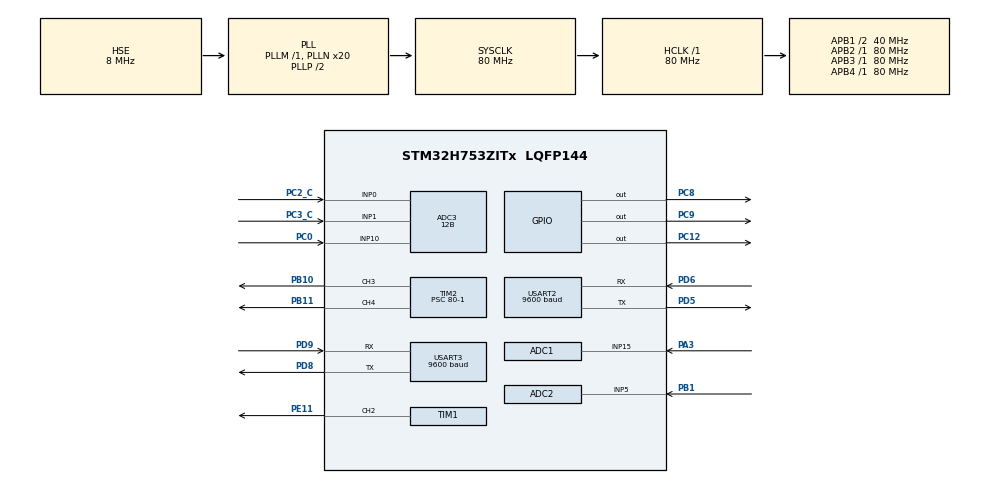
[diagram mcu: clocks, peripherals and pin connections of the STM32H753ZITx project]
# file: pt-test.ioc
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ADC1.Channel-0\#ChannelRegularConversion=ADC_CHANNEL_15
ADC1.ClockPrescaler=ADC_CLOCK_ASYNC_DIV2
ADC1.ContinuousConvMode=DISABLE
ADC1.DiscontinuousConvMode=ENABLE
ADC1.NbrOfConversion=1
ADC1.NbrOfConversionFlag=1
ADC1.OffsetNumber-0\#ChannelRegularConversion=ADC_OFFSET_NONE
ADC1.OffsetSignedSaturation-0\#ChannelRegularConversion=DISABLE
ADC1.Rank-0\#ChannelRegularConversion=1
ADC1.Resolution=ADC_RESOLUTION_12B
ADC1.SamplingTime-0\#ChannelRegularConversion=ADC_SAMPLETIME_387CYCLES_5
ADC1.master=1
ADC2.Channel-0\#ChannelRegularConversion=ADC_CHANNEL_5
ADC2.NbrOfConversionFlag=1
ADC2.OffsetNumber-0\#ChannelRegularConversion=ADC_OFFSET_NONE
ADC2.OffsetSignedSaturation-0\#ChannelRegularConversion=DISABLE
ADC2.Rank-0\#ChannelRegularConversion=1
ADC2.Resolution=ADC_RESOLUTION_12B
ADC2.SamplingTime-0\#ChannelRegularConversion=ADC_SAMPLETIME_387CYCLES_5
ADC3.Channel-0\#ChannelRegularConversion=ADC_CHANNEL_10
ADC3.Channel-1\#ChannelRegularConversion=ADC_CHANNEL_0
ADC3.Channel-2\#ChannelRegularConversion=ADC_CHANNEL_0
ADC3.ContinuousConvMode=ENABLE
ADC3.NbrOfConversion=3
ADC3.NbrOfConversionFlag=1
ADC3.OffsetNumber-0\#ChannelRegularConversion=ADC_OFFSET_NONE
ADC3.OffsetNumber-1\#ChannelRegularConversion=ADC_OFFSET_NONE
ADC3.OffsetNumber-2\#ChannelRegularConversion=ADC_OFFSET_NONE
ADC3.OffsetSignedSaturation-0\#ChannelRegularConversion=DISABLE
ADC3.OversamplingMode=ENABLE
ADC3.Rank-0\#ChannelRegularConversion=1
ADC3.Rank-1\#ChannelRegularConversion=2
ADC3.Rank-2\#ChannelRegularConversion=3
ADC3.Resolution=ADC_RESOLUTION_12B
ADC3.SamplingTime-0\#ChannelRegularConversion=ADC_SAMPLETIME_387CYCLES_5
ADC3.SamplingTime-1\#ChannelRegularConversion=ADC_SAMPLETIME_1CYCLE_5
ADC3.SamplingTime-2\#ChannelRegularConversion=ADC_SAMPLETIME_1CYCLE_5
Bdma.ADC3.0.Direction=DMA_PERIPH_TO_MEMORY
Bdma.ADC3.0.EventEnable=ENABLE
Bdma.ADC3.0.Instance=BDMA_Channel0
Bdma.ADC3.0.MemDataAlignment=DMA_MDATAALIGN_HALFWORD
Bdma.ADC3.0.MemInc=DMA_MINC_ENABLE
Bdma.ADC3.0.Mode=DMA_CIRCULAR
Bdma.ADC3.0.PeriphDataAlignment=DMA_PDATAALIGN_HALFWORD
Bdma.ADC3.0.PeriphInc=DMA_PINC_DISABLE
Bdma.ADC3.0.Polarity=HAL_DMAMUX_REQ_GEN_RISING
Bdma.ADC3.0.Priority=DMA_PRIORITY_LOW
Bdma.ADC3.0.RequestNumber=1
Bdma.ADC3.0.SignalID=NONE
Bdma.ADC3.0.SyncEnable=DISABLE
Bdma.ADC3.0.SyncPolarity=HAL_DMAMUX_SYNC_NO_EVENT
Bdma.ADC3.0.SyncRequestNumber=1
Bdma.ADC3.0.SyncSignalID=NONE
Bdma.Request0=ADC3
Bdma.RequestsNb=1
CORTEX_M7.default_mode_Activation=1
Mcu.Family=STM32H7
Mcu.Name=STM32H753ZITx
Mcu.Package=LQFP144
NVIC.ADC3_IRQn=true\:0\:0\:false\:false\:true\:true\:true\:true
NVIC.BDMA_Channel0_IRQn=true\:0\:0\:false\:false\:true\:false\:true\:true
NVIC.DMAMUX2_OVR_IRQn=true\:0\:0\:false\:false\:true\:false\:true\:true
NVIC.PriorityGroup=NVIC_PRIORITYGROUP_4
NVIC.TIM1_CC_IRQn=true\:1\:0\:true\:false\:true\:true\:true\:true
NVIC.USART2_IRQn=true\:0\:0\:false\:false\:true\:true\:true\:true
PA3.Signal=ADCx_INP15
PB1.Signal=ADCx_INP5
PB10.Signal=S_TIM2_CH3
PB11.Signal=S_TIM2_CH4
PC0.Signal=ADCx_INP10
PC12.Signal=GPIO_Output
PC2_C.Signal=SharedAnalog_PC2
PC3_C.Mode=IN1-Single-Ended
PC3_C.Signal=ADC3_INP1
PC8.GPIO_ModeDefaultOutputPP=GPIO_MODE_OUTPUT_OD
PC8.GPIO_PuPd=GPIO_NOPULL
PC8.PinState=GPIO_PIN_SET
PC8.Signal=GPIO_Output
PC9.GPIO_ModeDefaultOutputPP=GPIO_MODE_OUTPUT_OD
PC9.GPIO_PuPd=GPIO_NOPULL
PC9.PinState=GPIO_PIN_SET
PC9.Signal=GPIO_Output
PD5.GPIO_PuPd=GPIO_PULLUP
PD5.GPIO_Speed=GPIO_SPEED_FREQ_VERY_HIGH
PD5.Mode=Asynchronous
PD5.Signal=USART2_TX
PD6.GPIO_PuPd=GPIO_PULLUP
PD6.GPIO_Speed=GPIO_SPEED_FREQ_VERY_HIGH
PD6.Mode=Asynchronous
PD6.Signal=USART2_RX
PD8.Mode=Asynchronous
PD8.Signal=USART3_TX
PD9.Mode=Asynchronous
PD9.Signal=USART3_RX
PE11.Signal=S_TIM1_CH2
PE9.Signal=S_TIM1_CH1
PH0-OSC_IN\ (PH0).Mode=HSE-External-Oscillator
PH0-OSC_IN\ (PH0).Signal=RCC_OSC_IN
PH1-OSC_OUT\ (PH1).Mode=HSE-External-Oscillator
PH1-OSC_OUT\ (PH1).Signal=RCC_OSC_OUT
ProjectManager.HeapSize=0x200
ProjectManager.StackSize=0x400
ProjectManager.TargetToolchain=STM32CubeIDE
RCC.ADCFreq_Value=76000000
RCC.APB1Freq_Value=40000000
RCC.APB2Freq_Value=80000000
RCC.APB3Freq_Value=80000000
RCC.APB4Freq_Value=80000000
RCC.CortexFreq_Value=80000000
RCC.D2PPRE1=RCC_APB1_DIV2
RCC.DIVM1=1
RCC.DIVM2=1
RCC.DIVN1=20
RCC.DIVN2=19
RCC.DIVQ2=4
RCC.HCLKFreq_Value=80000000
RCC.HSE_VALUE=8000000
RCC.PLL2FRACN=0
RCC.PLLSourceVirtual=RCC_PLLSOURCE_HSE
RCC.SYSCLKFreq_VALUE=80000000
RCC.SYSCLKSource=RCC_SYSCLKSOURCE_PLLCLK
RCC.Tim1Mul=1
RCC.USBFreq_Value=80000000
SH.ADCx_INP10.0=ADC3_INP10,IN10-Single-Ended
SH.ADCx_INP15.0=ADC1_INP15,IN15-Single-Ended
SH.ADCx_INP5.0=ADC2_INP5,IN5-Single-Ended
SH.S_TIM1_CH1.0=TIM1_CH1
SH.S_TIM1_CH2.0=TIM1_CH2,PWM Generation2 CH2
SH.S_TIM2_CH3.0=TIM2_CH3,PWM Generation3 CH3
SH.S_TIM2_CH4.0=TIM2_CH4,PWM Generation4 CH4
SH.SharedAnalog_PC2.0=ADC3_INN1
SH.SharedAnalog_PC2.1=ADC3_INP0,IN0-Single-Ended
TIM1.Channel-PWM\ Generation2\ CH2=TIM_CHANNEL_2
TIM1.Period=20000-1
TIM1.Prescaler=80-1
TIM1.TIM_MasterOutputTrigger=TIM_TRGO_UPDATE
TIM2.Channel-PWM\ Generation3\ CH3=TIM_CHANNEL_3
TIM2.Channel-PWM\ Generation4\ CH4=TIM_CHANNEL_4
TIM2.Period=20000-1
TIM2.Prescaler=80-1
USART2.BaudRate=9600
USART2.VirtualMode-Asynchronous=VM_ASYNC
USART3.BaudRate=9600
USART3.VirtualMode-Asynchronous=VM_ASYNC
VP_MEMORYMAP_VS_MEMORYMAP.Mode=CurAppReg
VP_TIM1_VS_ClockSourceINT.Mode=Internal
VP_TIM2_VS_ClockSourceINT.Mode=Internal
board=custom

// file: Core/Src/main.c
/* USER CODE BEGIN Header */
/**
  ******************************************************************************
  * @file           : main.c
  * @brief          : Main program body
  ******************************************************************************
  * @attention
  *
  * Copyright (c) 2026 STMicroelectronics.
  * All rights reserved.
  *
  * This software is licensed under terms that can be found in the LICENSE file
  * in the root directory of this software component.
  * If no LICENSE file comes with this software, it is provided AS-IS.
  *
  ******************************************************************************
  */
/* USER CODE END Header */
#include "main.h"

/* USER CODE BEGIN PD */

typedef struct {
        uint16_t res1;
        uint16_t res2;
        uint16_t res3;
        uint16_t res4;
        uint16_t res5;
    } pt_values;

typedef union {
	pt_values values;
    uint8_t bytes_data[10];
} ADC_res;

ADC_res pressure_transducer_outputs;

/* USER CODE END PD */

ADC_HandleTypeDef hadc1;
ADC_HandleTypeDef hadc2;
ADC_HandleTypeDef hadc3;
DMA_HandleTypeDef hdma_adc3;

TIM_HandleTypeDef htim1;
TIM_HandleTypeDef htim2;

UART_HandleTypeDef huart2;
UART_HandleTypeDef huart3;

void SystemClock_Config(void);
void PeriphCommonClock_Config(void);
static void MPU_Config(void);
static void MX_GPIO_Init(void);
static void MX_BDMA_Init(void);
static void MX_TIM2_Init(void);
static void MX_ADC1_Init(void);
static void MX_USART3_UART_Init(void);
static void MX_TIM1_Init(void);
static void MX_USART2_UART_Init(void);
static void MX_ADC3_Init(void);
static void MX_ADC2_Init(void);

/* USER CODE BEGIN 0 */

uint16_t adc3_buffer[3] __attribute__((section(".sram4_table")));

//
//
void send_data(uint8_t* buffer, int size){
//	printf("in send_data\n");
//
//	for (int i = 0; i < 10; i ++){
//		printf("data to send: %x\n", buffer[i]);
//	}

	uint8_t start_val = 0xaa;
	uint8_t start_val2 = 0xa;

	printf("In send_data\n");

	HAL_UART_Transmit(&huart2, &start_val, 1, HAL_MAX_DELAY);
	HAL_UART_Transmit(&huart2, &start_val2, 1, HAL_MAX_DELAY);

	HAL_UART_Transmit_IT(&huart2, buffer, 10);

	//HAL_UART_Transmit(&huart3, buffer, 10);

	//HAL_UART_Transmit_DMA(&huart2, buffer, size);

}
//
//
//

void HAL_ADC_ConvCpltCallback(ADC_HandleTypeDef* hadc) {
    if (hadc->Instance == ADC3) {
    	//HAL_ADC_Stop_DMA(&hadc3);
    	printf("Reached ADC callback\n");

    	//SCB_InvalidateDCache_by_Addr((uint16_t *)adc3_buffer, sizeof(adc3_buffer));

    	pressure_transducer_outputs.values.res3 = (uint16_t) adc3_buffer[0];
    	pressure_transducer_outputs.values.res4 = (uint16_t) adc3_buffer[1];
    	pressure_transducer_outputs.values.res5 = (uint16_t) adc3_buffer[2];

    	send_data(pressure_transducer_outputs.bytes_data, 10);

    }
}

void get_pressure_data(){
	// printf("in get pressure data\n");

	pressure_transducer_outputs.values.res1 = ADC_Convert(&hadc1);
	pressure_transducer_outputs.values.res2 = ADC_Convert(&hadc2);
//	pressure_transducer_outputs.values.res3 = ADC_Convert(&hadc3);
//	pressure_transducer_outputs.values.res4 = 0;
//	pressure_transducer_outputs.values.res5 = 0;

	HAL_ADC_Start_DMA(&hadc3, (uint16_t*)adc3_buffer, 3);

//	HAL_ADC_Start(&hadc3);
//	HAL_ADC_PollForConversion(&hadc3, 10);
//	printf("%i\n", HAL_ADC_GetValue(&hadc3));

	//SCB_InvalidateDCache_by_Addr((uint16_t *)adc3_buffer, sizeof(adc3_buffer));

	printf("PT1: %d\r\n", pressure_transducer_outputs.values.res1);
	printf("PT2: %d\r\n", pressure_transducer_outputs.values.res2);
	printf("PT3: %d\r\n", pressure_transducer_outputs.values.res3);
	printf("PT4: %d\r\n", pressure_transducer_outputs.values.res4);
	printf("PT5: %d\r\n", pressure_transducer_outputs.values.res5);
//	for (int i = 0; i < 10; i ++){
//		pressure_transducer_outputs.bytes_data[i] = i;
//		printf("%x\n", pressure_transducer_outputs.bytes_data[i]);
//	}
	//send_data(pressure_transducer_outputs.bytes_data, 10);

	//ADC bit resolution - 12 bits

}

/* USER CODE END 0 */

int main(void)
{

  /* MPU Configuration--------------------------------------------------------*/
  MPU_Config();

  /* MCU Configuration--------------------------------------------------------*/

  /* Reset of all peripherals, Initializes the Flash interface and the Systick. */
  HAL_Init();

  /* Configure the system clock */
  SystemClock_Config();

  /* Configure the peripherals common clocks */
  PeriphCommonClock_Config();

  /* Initialize all configured peripherals */
  MX_GPIO_Init();
  MX_BDMA_Init();
  MX_TIM2_Init();
  MX_ADC1_Init();
  MX_USART3_UART_Init();
  MX_TIM1_Init();
  MX_USART2_UART_Init();
  MX_ADC3_Init();
  MX_ADC2_Init();

  /* Infinite loop */
  /* USER CODE BEGIN WHILE */
  while (1)
  {
 get_pressure_data();
	 printf("%x\n", BDMA_Channel0->CNDTR);
	 printf("ADC3 State: %X, DMA State: %X\n", HAL_ADC_GetState(&hadc3), HAL_DMA_GetState(&hdma_adc3));
	 HAL_Delay(5000);
	 printf("ADC3 State: %X, DMA State: %X\n", HAL_ADC_GetState(&hadc3), HAL_DMA_GetState(&hdma_adc3));
	 printf("Error code: %i\n", HAL_ADC_GetError(&hadc3));
    /* USER CODE END WHILE */

  }
}

void SystemClock_Config(void)
{
  RCC_OscInitTypeDef RCC_OscInitStruct = {0};
  RCC_ClkInitTypeDef RCC_ClkInitStruct = {0};

  /** Supply configuration update enable
  */
  HAL_PWREx_ConfigSupply(PWR_LDO_SUPPLY);

  /** Configure the main internal regulator output voltage
  */
  __HAL_PWR_VOLTAGESCALING_CONFIG(PWR_REGULATOR_VOLTAGE_SCALE3);

  while(!__HAL_PWR_GET_FLAG(PWR_FLAG_VOSRDY)) {}

  /** Initializes the RCC Oscillators according to the specified parameters
  * in the RCC_OscInitTypeDef structure.
  */
  RCC_OscInitStruct.OscillatorType = RCC_OSCILLATORTYPE_HSE;
  RCC_OscInitStruct.HSEState = RCC_HSE_ON;
  RCC_OscInitStruct.PLL.PLLState = RCC_PLL_ON;
  RCC_OscInitStruct.PLL.PLLSource = RCC_PLLSOURCE_HSE;
  RCC_OscInitStruct.PLL.PLLM = 1;
  RCC_OscInitStruct.PLL.PLLN = 20;
  RCC_OscInitStruct.PLL.PLLP = 2;
  RCC_OscInitStruct.PLL.PLLQ = 2;
  RCC_OscInitStruct.PLL.PLLR = 2;
  RCC_OscInitStruct.PLL.PLLRGE = RCC_PLL1VCIRANGE_3;
  RCC_OscInitStruct.PLL.PLLVCOSEL = RCC_PLL1VCOMEDIUM;
  RCC_OscInitStruct.PLL.PLLFRACN = 0;
  if (HAL_RCC_OscConfig(&RCC_OscInitStruct) != HAL_OK)
  {
    Error_Handler();
  }

  /** Initializes the CPU, AHB and APB buses clocks
  */
  RCC_ClkInitStruct.ClockType = RCC_CLOCKTYPE_HCLK|RCC_CLOCKTYPE_SYSCLK
                              |RCC_CLOCKTYPE_PCLK1|RCC_CLOCKTYPE_PCLK2
                              |RCC_CLOCKTYPE_D3PCLK1|RCC_CLOCKTYPE_D1PCLK1;
  RCC_ClkInitStruct.SYSCLKSource = RCC_SYSCLKSOURCE_PLLCLK;
  RCC_ClkInitStruct.SYSCLKDivider = RCC_SYSCLK_DIV1;
  RCC_ClkInitStruct.AHBCLKDivider = RCC_HCLK_DIV1;
  RCC_ClkInitStruct.APB3CLKDivider = RCC_APB3_DIV1;
  RCC_ClkInitStruct.APB1CLKDivider = RCC_APB1_DIV2;
  RCC_ClkInitStruct.APB2CLKDivider = RCC_APB2_DIV1;
  RCC_ClkInitStruct.APB4CLKDivider = RCC_APB4_DIV1;

  if (HAL_RCC_ClockConfig(&RCC_ClkInitStruct, FLASH_LATENCY_1) != HAL_OK)
  {
    Error_Handler();
  }
}

void PeriphCommonClock_Config(void)
{
  RCC_PeriphCLKInitTypeDef PeriphClkInitStruct = {0};

  /** Initializes the peripherals clock
  */
  PeriphClkInitStruct.PeriphClockSelection = RCC_PERIPHCLK_ADC;
  PeriphClkInitStruct.PLL2.PLL2M = 1;
  PeriphClkInitStruct.PLL2.PLL2N = 19;
  PeriphClkInitStruct.PLL2.PLL2P = 2;
  PeriphClkInitStruct.PLL2.PLL2Q = 4;
  PeriphClkInitStruct.PLL2.PLL2R = 2;
  PeriphClkInitStruct.PLL2.PLL2RGE = RCC_PLL2VCIRANGE_3;
  PeriphClkInitStruct.PLL2.PLL2VCOSEL = RCC_PLL2VCOMEDIUM;
  PeriphClkInitStruct.PLL2.PLL2FRACN = 0;
  PeriphClkInitStruct.AdcClockSelection = RCC_ADCCLKSOURCE_PLL2;
  if (HAL_RCCEx_PeriphCLKConfig(&PeriphClkInitStruct) != HAL_OK)
  {
    Error_Handler();
  }
}

static void MX_ADC1_Init(void)
{

  ADC_MultiModeTypeDef multimode = {0};
  ADC_ChannelConfTypeDef sConfig = {0};

  /** Common config
  */
  hadc1.Instance = ADC1;
  hadc1.Init.ClockPrescaler = ADC_CLOCK_ASYNC_DIV2;
  hadc1.Init.Resolution = ADC_RESOLUTION_12B;
  hadc1.Init.ScanConvMode = ADC_SCAN_DISABLE;
  hadc1.Init.EOCSelection = ADC_EOC_SINGLE_CONV;
  hadc1.Init.LowPowerAutoWait = DISABLE;
  hadc1.Init.ContinuousConvMode = DISABLE;
  hadc1.Init.NbrOfConversion = 1;
  hadc1.Init.DiscontinuousConvMode = ENABLE;
  hadc1.Init.NbrOfDiscConversion = 1;
  hadc1.Init.ExternalTrigConv = ADC_SOFTWARE_START;
  hadc1.Init.ExternalTrigConvEdge = ADC_EXTERNALTRIGCONVEDGE_NONE;
  hadc1.Init.ConversionDataManagement = ADC_CONVERSIONDATA_DR;
  hadc1.Init.Overrun = ADC_OVR_DATA_PRESERVED;
  hadc1.Init.LeftBitShift = ADC_LEFTBITSHIFT_NONE;
  hadc1.Init.OversamplingMode = DISABLE;
  hadc1.Init.Oversampling.Ratio = 1;
  if (HAL_ADC_Init(&hadc1) != HAL_OK)
  {
    Error_Handler();
  }

  /** Configure the ADC multi-mode
  */
  multimode.Mode = ADC_MODE_INDEPENDENT;
  if (HAL_ADCEx_MultiModeConfigChannel(&hadc1, &multimode) != HAL_OK)
  {
    Error_Handler();
  }

  /** Configure Regular Channel
  */
  sConfig.Channel = ADC_CHANNEL_15;
  sConfig.Rank = ADC_REGULAR_RANK_1;
  sConfig.SamplingTime = ADC_SAMPLETIME_387CYCLES_5;
  sConfig.SingleDiff = ADC_SINGLE_ENDED;
  sConfig.OffsetNumber = ADC_OFFSET_NONE;
  sConfig.Offset = 0;
  sConfig.OffsetSignedSaturation = DISABLE;
  if (HAL_ADC_ConfigChannel(&hadc1, &sConfig) != HAL_OK)
  {
    Error_Handler();
  }

}

static void MX_ADC2_Init(void)
{

  ADC_ChannelConfTypeDef sConfig = {0};

  /** Common config
  */
  hadc2.Instance = ADC2;
  hadc2.Init.ClockPrescaler = ADC_CLOCK_ASYNC_DIV2;
  hadc2.Init.Resolution = ADC_RESOLUTION_12B;
  hadc2.Init.ScanConvMode = ADC_SCAN_DISABLE;
  hadc2.Init.EOCSelection = ADC_EOC_SINGLE_CONV;
  hadc2.Init.LowPowerAutoWait = DISABLE;
  hadc2.Init.ContinuousConvMode = DISABLE;
  hadc2.Init.NbrOfConversion = 1;
  hadc2.Init.DiscontinuousConvMode = DISABLE;
  hadc2.Init.ExternalTrigConv = ADC_SOFTWARE_START;
  hadc2.Init.ExternalTrigConvEdge = ADC_EXTERNALTRIGCONVEDGE_NONE;
  hadc2.Init.ConversionDataManagement = ADC_CONVERSIONDATA_DR;
  hadc2.Init.Overrun = ADC_OVR_DATA_PRESERVED;
  hadc2.Init.LeftBitShift = ADC_LEFTBITSHIFT_NONE;
  hadc2.Init.OversamplingMode = DISABLE;
  hadc2.Init.Oversampling.Ratio = 1;
  if (HAL_ADC_Init(&hadc2) != HAL_OK)
  {
    Error_Handler();
  }

  /** Configure Regular Channel
  */
  sConfig.Channel = ADC_CHANNEL_5;
  sConfig.Rank = ADC_REGULAR_RANK_1;
  sConfig.SamplingTime = ADC_SAMPLETIME_387CYCLES_5;
  sConfig.SingleDiff = ADC_SINGLE_ENDED;
  sConfig.OffsetNumber = ADC_OFFSET_NONE;
  sConfig.Offset = 0;
  sConfig.OffsetSignedSaturation = DISABLE;
  if (HAL_ADC_ConfigChannel(&hadc2, &sConfig) != HAL_OK)
  {
    Error_Handler();
  }

}

static void MX_ADC3_Init(void)
{

  ADC_ChannelConfTypeDef sConfig = {0};

  /** Common config
  */
  hadc3.Instance = ADC3;
  hadc3.Init.ClockPrescaler = ADC_CLOCK_ASYNC_DIV2;
  hadc3.Init.Resolution = ADC_RESOLUTION_12B;
  hadc3.Init.ScanConvMode = ADC_SCAN_ENABLE;
  hadc3.Init.EOCSelection = ADC_EOC_SINGLE_CONV;
  hadc3.Init.LowPowerAutoWait = DISABLE;
  hadc3.Init.ContinuousConvMode = ENABLE;
  hadc3.Init.NbrOfConversion = 3;
  hadc3.Init.DiscontinuousConvMode = DISABLE;
  hadc3.Init.ExternalTrigConv = ADC_SOFTWARE_START;
  hadc3.Init.ExternalTrigConvEdge = ADC_EXTERNALTRIGCONVEDGE_NONE;
  hadc3.Init.ConversionDataManagement = ADC_CONVERSIONDATA_DR;
  hadc3.Init.Overrun = ADC_OVR_DATA_PRESERVED;
  hadc3.Init.LeftBitShift = ADC_LEFTBITSHIFT_NONE;
  hadc3.Init.OversamplingMode = ENABLE;
  hadc3.Init.Oversampling.Ratio = 1;
  hadc3.Init.Oversampling.RightBitShift = ADC_RIGHTBITSHIFT_NONE;
  hadc3.Init.Oversampling.TriggeredMode = ADC_TRIGGEREDMODE_SINGLE_TRIGGER;
  hadc3.Init.Oversampling.OversamplingStopReset = ADC_REGOVERSAMPLING_CONTINUED_MODE;
  if (HAL_ADC_Init(&hadc3) != HAL_OK)
  {
    Error_Handler();
  }

  /** Configure Regular Channel
  */
  sConfig.Channel = ADC_CHANNEL_10;
  sConfig.Rank = ADC_REGULAR_RANK_1;
  sConfig.SamplingTime = ADC_SAMPLETIME_387CYCLES_5;
  sConfig.SingleDiff = ADC_SINGLE_ENDED;
  sConfig.OffsetNumber = ADC_OFFSET_NONE;
  sConfig.Offset = 0;
  sConfig.OffsetSignedSaturation = DISABLE;
  if (HAL_ADC_ConfigChannel(&hadc3, &sConfig) != HAL_OK)
  {
    Error_Handler();
  }

  /** Configure Regular Channel
  */
  sConfig.Channel = ADC_CHANNEL_0;
  sConfig.Rank = ADC_REGULAR_RANK_2;
  sConfig.SamplingTime = ADC_SAMPLETIME_1CYCLE_5;
  if (HAL_ADC_ConfigChannel(&hadc3, &sConfig) != HAL_OK)
  {
    Error_Handler();
  }

  /** Configure Regular Channel
  */
  sConfig.Rank = ADC_REGULAR_RANK_3;
  if (HAL_ADC_ConfigChannel(&hadc3, &sConfig) != HAL_OK)
  {
    Error_Handler();
  }

}

static void MX_TIM1_Init(void)
{

  TIM_ClockConfigTypeDef sClockSourceConfig = {0};
  TIM_MasterConfigTypeDef sMasterConfig = {0};
  TIM_OC_InitTypeDef sConfigOC = {0};
  TIM_BreakDeadTimeConfigTypeDef sBreakDeadTimeConfig = {0};

  htim1.Instance = TIM1;
  htim1.Init.Prescaler = 80-1;
  htim1.Init.CounterMode = TIM_COUNTERMODE_UP;
  htim1.Init.Period = 20000-1;
  htim1.Init.ClockDivision = TIM_CLOCKDIVISION_DIV1;
  htim1.Init.RepetitionCounter = 0;
  htim1.Init.AutoReloadPreload = TIM_AUTORELOAD_PRELOAD_DISABLE;
  if (HAL_TIM_Base_Init(&htim1) != HAL_OK)
  {
    Error_Handler();
  }
  sClockSourceConfig.ClockSource = TIM_CLOCKSOURCE_INTERNAL;
  if (HAL_TIM_ConfigClockSource(&htim1, &sClockSourceConfig) != HAL_OK)
  {
    Error_Handler();
  }
  if (HAL_TIM_PWM_Init(&htim1) != HAL_OK)
  {
    Error_Handler();
  }
  sMasterConfig.MasterOutputTrigger = TIM_TRGO_UPDATE;
  sMasterConfig.MasterOutputTrigger2 = TIM_TRGO2_RESET;
  sMasterConfig.MasterSlaveMode = TIM_MASTERSLAVEMODE_DISABLE;
  if (HAL_TIMEx_MasterConfigSynchronization(&htim1, &sMasterConfig) != HAL_OK)
  {
    Error_Handler();
  }
  sConfigOC.OCMode = TIM_OCMODE_PWM1;
  sConfigOC.Pulse = 0;
  sConfigOC.OCPolarity = TIM_OCPOLARITY_HIGH;
  sConfigOC.OCNPolarity = TIM_OCNPOLARITY_HIGH;
  sConfigOC.OCFastMode = TIM_OCFAST_DISABLE;
  sConfigOC.OCIdleState = TIM_OCIDLESTATE_RESET;
  sConfigOC.OCNIdleState = TIM_OCNIDLESTATE_RESET;
  if (HAL_TIM_PWM_ConfigChannel(&htim1, &sConfigOC, TIM_CHANNEL_2) != HAL_OK)
  {
    Error_Handler();
  }
  sBreakDeadTimeConfig.OffStateRunMode = TIM_OSSR_DISABLE;
  sBreakDeadTimeConfig.OffStateIDLEMode = TIM_OSSI_DISABLE;
  sBreakDeadTimeConfig.LockLevel = TIM_LOCKLEVEL_OFF;
  sBreakDeadTimeConfig.DeadTime = 0;
  sBreakDeadTimeConfig.BreakState = TIM_BREAK_DISABLE;
  sBreakDeadTimeConfig.BreakPolarity = TIM_BREAKPOLARITY_HIGH;
  sBreakDeadTimeConfig.BreakFilter = 0;
  sBreakDeadTimeConfig.Break2State = TIM_BREAK2_DISABLE;
  sBreakDeadTimeConfig.Break2Polarity = TIM_BREAK2POLARITY_HIGH;
  sBreakDeadTimeConfig.Break2Filter = 0;
  sBreakDeadTimeConfig.AutomaticOutput = TIM_AUTOMATICOUTPUT_DISABLE;
  if (HAL_TIMEx_ConfigBreakDeadTime(&htim1, &sBreakDeadTimeConfig) != HAL_OK)
  {
    Error_Handler();
  }
  HAL_TIM_MspPostInit(&htim1);

}

static void MX_TIM2_Init(void)
{

  TIM_ClockConfigTypeDef sClockSourceConfig = {0};
  TIM_MasterConfigTypeDef sMasterConfig = {0};
  TIM_OC_InitTypeDef sConfigOC = {0};

  htim2.Instance = TIM2;
  htim2.Init.Prescaler = 80-1;
  htim2.Init.CounterMode = TIM_COUNTERMODE_UP;
  htim2.Init.Period = 20000-1;
  htim2.Init.ClockDivision = TIM_CLOCKDIVISION_DIV1;
  htim2.Init.AutoReloadPreload = TIM_AUTORELOAD_PRELOAD_DISABLE;
  if (HAL_TIM_Base_Init(&htim2) != HAL_OK)
  {
    Error_Handler();
  }
  sClockSourceConfig.ClockSource = TIM_CLOCKSOURCE_INTERNAL;
  if (HAL_TIM_ConfigClockSource(&htim2, &sClockSourceConfig) != HAL_OK)
  {
    Error_Handler();
  }
  if (HAL_TIM_PWM_Init(&htim2) != HAL_OK)
  {
    Error_Handler();
  }
  sMasterConfig.MasterOutputTrigger = TIM_TRGO_RESET;
  sMasterConfig.MasterSlaveMode = TIM_MASTERSLAVEMODE_DISABLE;
  if (HAL_TIMEx_MasterConfigSynchronization(&htim2, &sMasterConfig) != HAL_OK)
  {
    Error_Handler();
  }
  sConfigOC.OCMode = TIM_OCMODE_PWM1;
  sConfigOC.Pulse = 0;
  sConfigOC.OCPolarity = TIM_OCPOLARITY_HIGH;
  sConfigOC.OCFastMode = TIM_OCFAST_DISABLE;
  if (HAL_TIM_PWM_ConfigChannel(&htim2, &sConfigOC, TIM_CHANNEL_3) != HAL_OK)
  {
    Error_Handler();
  }
  if (HAL_TIM_PWM_ConfigChannel(&htim2, &sConfigOC, TIM_CHANNEL_4) != HAL_OK)
  {
    Error_Handler();
  }
  HAL_TIM_MspPostInit(&htim2);

}

static void MX_USART2_UART_Init(void)
{

  huart2.Instance = USART2;
  huart2.Init.BaudRate = 9600;
  huart2.Init.WordLength = UART_WORDLENGTH_8B;
  huart2.Init.StopBits = UART_STOPBITS_1;
  huart2.Init.Parity = UART_PARITY_NONE;
  huart2.Init.Mode = UART_MODE_TX_RX;
  huart2.Init.HwFlowCtl = UART_HWCONTROL_NONE;
  huart2.Init.OverSampling = UART_OVERSAMPLING_16;
  huart2.Init.OneBitSampling = UART_ONE_BIT_SAMPLE_DISABLE;
  huart2.Init.ClockPrescaler = UART_PRESCALER_DIV1;
  huart2.AdvancedInit.AdvFeatureInit = UART_ADVFEATURE_NO_INIT;
  if (HAL_UART_Init(&huart2) != HAL_OK)
  {
    Error_Handler();
  }
  if (HAL_UARTEx_SetTxFifoThreshold(&huart2, UART_TXFIFO_THRESHOLD_1_8) != HAL_OK)
  {
    Error_Handler();
  }
  if (HAL_UARTEx_SetRxFifoThreshold(&huart2, UART_RXFIFO_THRESHOLD_1_8) != HAL_OK)
  {
    Error_Handler();
  }
  if (HAL_UARTEx_DisableFifoMode(&huart2) != HAL_OK)
  {
    Error_Handler();
  }

}

static void MX_USART3_UART_Init(void)
{

  huart3.Instance = USART3;
  huart3.Init.BaudRate = 9600;
  huart3.Init.WordLength = UART_WORDLENGTH_8B;
  huart3.Init.StopBits = UART_STOPBITS_1;
  huart3.Init.Parity = UART_PARITY_NONE;
  huart3.Init.Mode = UART_MODE_TX_RX;
  huart3.Init.HwFlowCtl = UART_HWCONTROL_NONE;
  huart3.Init.OverSampling = UART_OVERSAMPLING_16;
  huart3.Init.OneBitSampling = UART_ONE_BIT_SAMPLE_DISABLE;
  huart3.Init.ClockPrescaler = UART_PRESCALER_DIV1;
  huart3.AdvancedInit.AdvFeatureInit = UART_ADVFEATURE_NO_INIT;
  if (HAL_UART_Init(&huart3) != HAL_OK)
  {
    Error_Handler();
  }
  if (HAL_UARTEx_SetTxFifoThreshold(&huart3, UART_TXFIFO_THRESHOLD_1_8) != HAL_OK)
  {
    Error_Handler();
  }
  if (HAL_UARTEx_SetRxFifoThreshold(&huart3, UART_RXFIFO_THRESHOLD_1_8) != HAL_OK)
  {
    Error_Handler();
  }
  if (HAL_UARTEx_DisableFifoMode(&huart3) != HAL_OK)
  {
    Error_Handler();
  }

}

static void MX_BDMA_Init(void)
{

  /* DMA controller clock enable */
  __HAL_RCC_BDMA_CLK_ENABLE();

  /* DMA interrupt init */
  /* DMAMUX2_OVR_IRQn interrupt configuration */
  HAL_NVIC_SetPriority(DMAMUX2_OVR_IRQn, 0, 0);
  HAL_NVIC_EnableIRQ(DMAMUX2_OVR_IRQn);
  /* BDMA_Channel0_IRQn interrupt configuration */
  HAL_NVIC_SetPriority(BDMA_Channel0_IRQn, 0, 0);
  HAL_NVIC_EnableIRQ(BDMA_Channel0_IRQn);

}

static void MX_GPIO_Init(void)
{
  GPIO_InitTypeDef GPIO_InitStruct = {0};

  /* GPIO Ports Clock Enable */
  __HAL_RCC_GPIOH_CLK_ENABLE();
  __HAL_RCC_GPIOC_CLK_ENABLE();
  __HAL_RCC_GPIOA_CLK_ENABLE();
  __HAL_RCC_GPIOB_CLK_ENABLE();
  __HAL_RCC_GPIOE_CLK_ENABLE();
  __HAL_RCC_GPIOD_CLK_ENABLE();

  /*Configure GPIO pin Output Level */
  HAL_GPIO_WritePin(GPIOC, GPIO_PIN_8|GPIO_PIN_9, GPIO_PIN_SET);

  /*Configure GPIO pin Output Level */
  HAL_GPIO_WritePin(GPIOC, GPIO_PIN_12, GPIO_PIN_RESET);

  /*Configure GPIO pins : PC8 PC9 */
  GPIO_InitStruct.Pin = GPIO_PIN_8|GPIO_PIN_9;
  GPIO_InitStruct.Mode = GPIO_MODE_OUTPUT_OD;
  GPIO_InitStruct.Pull = GPIO_NOPULL;
  GPIO_InitStruct.Speed = GPIO_SPEED_FREQ_LOW;
  HAL_GPIO_Init(GPIOC, &GPIO_InitStruct);

  /*Configure GPIO pin : PC12 */
  GPIO_InitStruct.Pin = GPIO_PIN_12;
  GPIO_InitStruct.Mode = GPIO_MODE_OUTPUT_PP;
  GPIO_InitStruct.Pull = GPIO_NOPULL;
  GPIO_InitStruct.Speed = GPIO_SPEED_FREQ_LOW;
  HAL_GPIO_Init(GPIOC, &GPIO_InitStruct);

}

 /* MPU Configuration */

void MPU_Config(void)
{
  MPU_Region_InitTypeDef MPU_InitStruct = {0};

  /* Disables the MPU */
  HAL_MPU_Disable();

  /** Initializes and configures the Region and the memory to be protected
  */
  MPU_InitStruct.Enable = MPU_REGION_ENABLE;
  MPU_InitStruct.Number = MPU_REGION_NUMBER0;
  MPU_InitStruct.BaseAddress = 0x0;
  MPU_InitStruct.Size = MPU_REGION_SIZE_4GB;
  MPU_InitStruct.SubRegionDisable = 0x87;
  MPU_InitStruct.TypeExtField = MPU_TEX_LEVEL0;
  MPU_InitStruct.AccessPermission = MPU_REGION_NO_ACCESS;
  MPU_InitStruct.DisableExec = MPU_INSTRUCTION_ACCESS_DISABLE;
  MPU_InitStruct.IsShareable = MPU_ACCESS_SHAREABLE;
  MPU_InitStruct.IsCacheable = MPU_ACCESS_NOT_CACHEABLE;
  MPU_InitStruct.IsBufferable = MPU_ACCESS_NOT_BUFFERABLE;

  HAL_MPU_ConfigRegion(&MPU_InitStruct);
  /* Enables the MPU */
  HAL_MPU_Enable(MPU_PRIVILEGED_DEFAULT);

}

void Error_Handler(void)
{
  __disable_irq();
  while (1)
  {
  }
}
